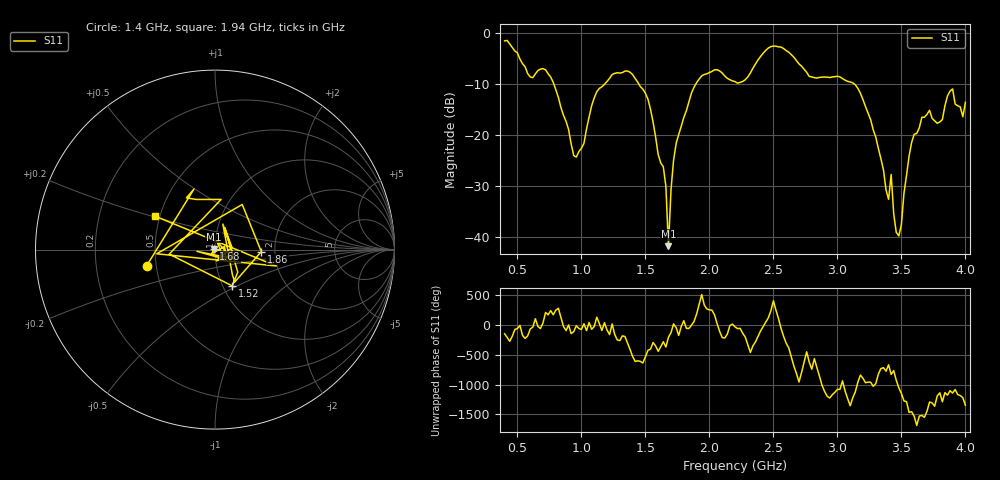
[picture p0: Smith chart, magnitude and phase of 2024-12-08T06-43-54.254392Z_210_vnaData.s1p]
!Created with skrf (http://scikit-rf.org).
# Hz S RI R 50.0
!freq ReS11 ImS11
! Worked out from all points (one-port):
!   181 points, 400 MHz to 4 GHz, reference 50 ohm
!   lowest |S11| = -41.7 dB at 1.68 GHz (marker M1), VSWR 1.02, Z = 49.3 + j0.354 ohm
!   |S11| at or under -10 dB: 784.3 MHz to 1.183 GHz (398.6 MHz wide, 40.5 % of centre); 1.448 GHz to 1.894 GHz (446.1 MHz wide, 26.7 % of centre); 3.131 GHz to end of sweep
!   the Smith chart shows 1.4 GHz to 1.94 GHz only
!   S11 on the Smith chart (normalised r, x): 1.4 GHz: 0.44, -0.09; 1.52 GHz: 1.11, -0.47; 1.68 GHz: 0.99, +0.01; 1.86 GHz: 1.69, -0.04; 1.94 GHz: 0.47, +0.21
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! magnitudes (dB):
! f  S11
! 400 MHz  -1.6
! 600 MHz  -8.6
! 720 MHz  -7.2
! 860 MHz  -16.1
! 960 MHz  -24.3
! 1.12 GHz  -11.5
! 1.3 GHz  -7.9
! 1.4 GHz  -8.2
! 1.52 GHz  -13.0
! 1.64 GHz  -26.2
! 1.66 GHz  -30.0
! 1.68 GHz  -41.7
! 1.72 GHz  -24.9
! 1.76 GHz  -19.9
! 1.86 GHz  -11.8
! 1.94 GHz  -8.4
! 2.2 GHz  -9.5
! 2.48 GHz  -2.7
! 2.66 GHz  -4.8
! 3.1 GHz  -9.6
! 3.26 GHz  -17.0
! 3.4 GHz  -32.6
! 3.42 GHz  -27.7
! 3.44 GHz  -35.4
! 3.48 GHz  -39.7
! 3.56 GHz  -24.1
! 3.66 GHz  -16.5
! 4 GHz  -13.6
